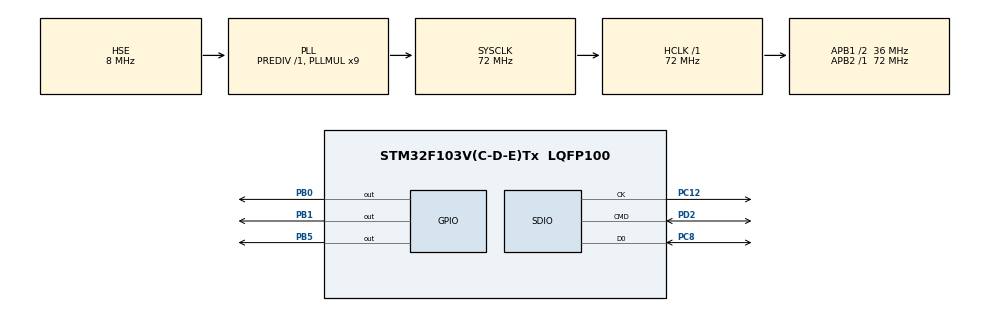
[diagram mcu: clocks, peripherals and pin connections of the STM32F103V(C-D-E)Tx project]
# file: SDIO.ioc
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Mcu.Family=STM32F1
Mcu.Name=STM32F103V(C-D-E)Tx
Mcu.Package=LQFP100
NVIC.PriorityGroup=NVIC_PRIORITYGROUP_4
OSC_IN.Mode=HSE-External-Oscillator
OSC_IN.Signal=RCC_OSC_IN
OSC_OUT.Mode=HSE-External-Oscillator
OSC_OUT.Signal=RCC_OSC_OUT
PA13.Mode=Serial_Wire
PA13.Signal=SYS_JTMS-SWDIO
PA14.Mode=Serial_Wire
PA14.Signal=SYS_JTCK-SWCLK
PB0.GPIO_Speed=GPIO_SPEED_FREQ_HIGH
PB0.PinState=GPIO_PIN_SET
PB0.Signal=GPIO_Output
PB1.GPIO_Speed=GPIO_SPEED_FREQ_HIGH
PB1.PinState=GPIO_PIN_SET
PB1.Signal=GPIO_Output
PB5.GPIO_Speed=GPIO_SPEED_FREQ_HIGH
PB5.PinState=GPIO_PIN_SET
PB5.Signal=GPIO_Output
PC12.Mode=SD_1_bit
PC12.Signal=SDIO_CK
PC14-OSC32_IN.Mode=LSE-External-Oscillator
PC14-OSC32_IN.Signal=RCC_OSC32_IN
PC15-OSC32_OUT.Mode=LSE-External-Oscillator
PC15-OSC32_OUT.Signal=RCC_OSC32_OUT
PC8.Mode=SD_1_bit
PC8.Signal=SDIO_D0
PD2.Mode=SD_1_bit
PD2.Signal=SDIO_CMD
ProjectManager.HeapSize=0x200
ProjectManager.StackSize=0x400
ProjectManager.TargetToolchain=STM32CubeIDE
RCC.AHBFreq_Value=72000000
RCC.APB1CLKDivider=RCC_HCLK_DIV2
RCC.APB1Freq_Value=36000000
RCC.APB1TimFreq_Value=72000000
RCC.APB2Freq_Value=72000000
RCC.APB2TimFreq_Value=72000000
RCC.HCLKFreq_Value=72000000
RCC.PLLMUL=RCC_PLL_MUL9
RCC.PLLSourceVirtual=RCC_PLLSOURCE_HSE
RCC.SYSCLKFreq_VALUE=72000000
RCC.SYSCLKSource=RCC_SYSCLKSOURCE_PLLCLK
RCC.USBFreq_Value=72000000
SDIO.ClockDiv=4
SDIO.HardwareFlowControl=SDIO_HARDWARE_FLOW_CONTROL_ENABLE
VP_FATFS_VS_SDIO.Mode=SDIO
board=custom

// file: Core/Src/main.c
/* USER CODE BEGIN Header */
/**
  ******************************************************************************
  * @file           : main.c
  * @brief          : Main program body
  ******************************************************************************
  * @attention
  *
  * Copyright (c) 2024 STMicroelectronics.
  * All rights reserved.
  *
  * This software is licensed under terms that can be found in the LICENSE file
  * in the root directory of this software component.
  * If no LICENSE file comes with this software, it is provided AS-IS.
  *
  ******************************************************************************
  */
/* USER CODE END Header */
#include "main.h"
#include "fatfs.h"

 SD_HandleTypeDef hsd;

void SystemClock_Config(void);
static void MX_GPIO_Init(void);
static void MX_SDIO_SD_Init(void);

int main(void)
{

  /* MCU Configuration--------------------------------------------------------*/

  /* Reset of all peripherals, Initializes the Flash interface and the Systick. */
  HAL_Init();

  /* Configure the system clock */
  SystemClock_Config();

  /* Initialize all configured peripherals */
  MX_GPIO_Init();
  MX_SDIO_SD_Init();
  MX_FATFS_Init();
  /* USER CODE BEGIN 2 */

  FATFS myFATFS; //Declares a FATFS object to represent the file system
  FIL myFILE; //Represents the file object for accessing files on the SD card
  UINT numberofbytes; //Stores the number of bytes successfully written to the file
  char myPath[] = "TEST.TXT\0"; //The name of the file to be created or accessed
  char myData[] = "Hello World\0"; //The data to write into the file
  FRESULT res; //Stores the result of file system operations for error handling

  /* Mounts the SD card to the file system. The SDPath parameter links to the SDIO interface. */
  res = f_mount(&myFATFS,SDPath,1);

  if (res == FR_OK)
  {
	  HAL_GPIO_WritePin(GPIOB, GPIO_PIN_0,GPIO_PIN_RESET); //If successful (FR_OK), the green LED (GPIO_PIN_0) is turned on
	  f_open(&myFILE, myPath, FA_WRITE |FA_CREATE_ALWAYS); //Opens or creates the file named TEST.TXT in write mode (FA_WRITE | FA_CREATE_ALWAYS)
	  f_write(&myFILE, myData, sizeof(myData), &numberofbytes); //Writes the string "Hello World" into the file and records the number of bytes written
	  f_close(&myFILE); //Closes the file to save changes
	  HAL_Delay(1000);
	  HAL_GPIO_WritePin(GPIOB, GPIO_PIN_1,GPIO_PIN_RESET); //Turns on different LEDs (GPIO_PIN_0, GPIO_PIN_1, or GPIO_PIN_5) to indicate success or failure
  }
  else
  {
	  HAL_GPIO_WritePin(GPIOB, GPIO_PIN_5,GPIO_PIN_RESET); //If the SD card mount fails (res != FR_OK), a failure LED (GPIO_PIN_5) is turned on
  }

  /* USER CODE END 2 */

  /* Infinite loop */
  while (1)
  {

  }
}

void SystemClock_Config(void)
{
  RCC_OscInitTypeDef RCC_OscInitStruct = {0};
  RCC_ClkInitTypeDef RCC_ClkInitStruct = {0};

  /** Initializes the RCC Oscillators according to the specified parameters
  * in the RCC_OscInitTypeDef structure.
  */
  RCC_OscInitStruct.OscillatorType = RCC_OSCILLATORTYPE_HSE;
  RCC_OscInitStruct.HSEState = RCC_HSE_ON;
  RCC_OscInitStruct.HSEPredivValue = RCC_HSE_PREDIV_DIV1;
  RCC_OscInitStruct.HSIState = RCC_HSI_ON;
  RCC_OscInitStruct.PLL.PLLState = RCC_PLL_ON;
  RCC_OscInitStruct.PLL.PLLSource = RCC_PLLSOURCE_HSE;
  RCC_OscInitStruct.PLL.PLLMUL = RCC_PLL_MUL9;
  if (HAL_RCC_OscConfig(&RCC_OscInitStruct) != HAL_OK)
  {
    Error_Handler();
  }

  /** Initializes the CPU, AHB and APB buses clocks
  */
  RCC_ClkInitStruct.ClockType = RCC_CLOCKTYPE_HCLK|RCC_CLOCKTYPE_SYSCLK
                              |RCC_CLOCKTYPE_PCLK1|RCC_CLOCKTYPE_PCLK2;
  RCC_ClkInitStruct.SYSCLKSource = RCC_SYSCLKSOURCE_PLLCLK;
  RCC_ClkInitStruct.AHBCLKDivider = RCC_SYSCLK_DIV1;
  RCC_ClkInitStruct.APB1CLKDivider = RCC_HCLK_DIV2;
  RCC_ClkInitStruct.APB2CLKDivider = RCC_HCLK_DIV1;

  if (HAL_RCC_ClockConfig(&RCC_ClkInitStruct, FLASH_LATENCY_2) != HAL_OK)
  {
    Error_Handler();
  }
}

static void MX_SDIO_SD_Init(void)
{

  hsd.Instance = SDIO;
  hsd.Init.ClockEdge = SDIO_CLOCK_EDGE_RISING;
  hsd.Init.ClockBypass = SDIO_CLOCK_BYPASS_DISABLE;
  hsd.Init.ClockPowerSave = SDIO_CLOCK_POWER_SAVE_DISABLE;
  hsd.Init.BusWide = SDIO_BUS_WIDE_1B;
  hsd.Init.HardwareFlowControl = SDIO_HARDWARE_FLOW_CONTROL_ENABLE;
  hsd.Init.ClockDiv = 4;

}

static void MX_GPIO_Init(void)
{
  GPIO_InitTypeDef GPIO_InitStruct = {0};

  /* GPIO Ports Clock Enable */
  __HAL_RCC_GPIOC_CLK_ENABLE();
  __HAL_RCC_GPIOB_CLK_ENABLE();
  __HAL_RCC_GPIOA_CLK_ENABLE();
  __HAL_RCC_GPIOD_CLK_ENABLE();

  /*Configure GPIO pin Output Level */
  HAL_GPIO_WritePin(GPIOB, GPIO_PIN_0|GPIO_PIN_1|GPIO_PIN_5, GPIO_PIN_SET);

  /*Configure GPIO pins : PB0 PB1 PB5 */
  GPIO_InitStruct.Pin = GPIO_PIN_0|GPIO_PIN_1|GPIO_PIN_5;
  GPIO_InitStruct.Mode = GPIO_MODE_OUTPUT_PP;
  GPIO_InitStruct.Pull = GPIO_NOPULL;
  GPIO_InitStruct.Speed = GPIO_SPEED_FREQ_HIGH;
  HAL_GPIO_Init(GPIOB, &GPIO_InitStruct);

}

void Error_Handler(void)
{
  __disable_irq();
  while (1)
  {
  }
}
